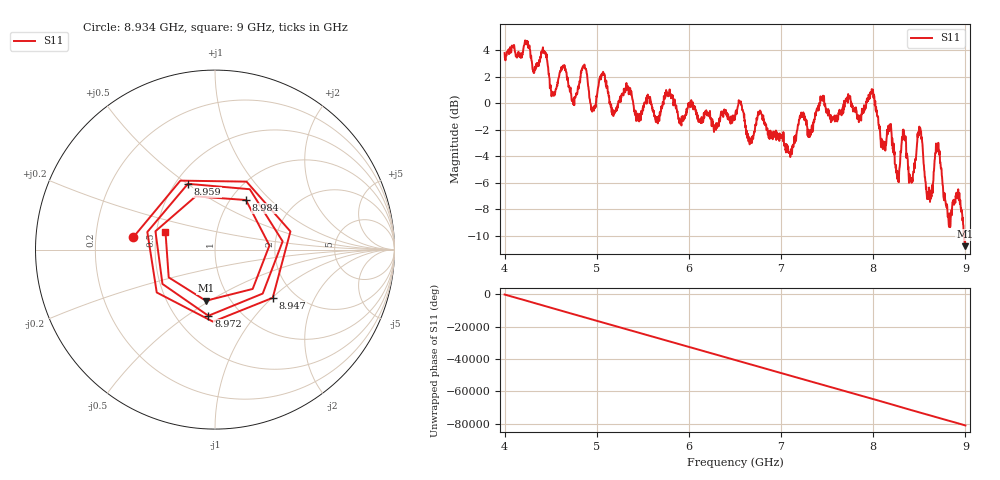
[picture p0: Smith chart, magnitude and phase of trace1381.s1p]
! Created with skrf 1.8.0 (http://scikit-rf.org).
# Hz S RI R 50.0
!freq ReS11 ImS11
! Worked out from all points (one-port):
!   1601 points, 4 GHz to 9 GHz, reference 50 ohm
!   lowest |S11| = -10.8 dB at 8.994 GHz (marker M1), VSWR 1.82, Z = 38.6 - j24 ohm
!   |S11| at or under -10 dB: 8.980938 GHz to 8.981189 GHz (250.9 kHz wide, 0.00279 % of centre); 8.985723 GHz to end of sweep
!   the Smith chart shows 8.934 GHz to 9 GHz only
!   S11 on the Smith chart (normalised r, x): 8.934 GHz: 0.37, +0.07; 8.947 GHz: 1.55, -1.01; 8.959 GHz: 0.58, +0.50; 8.972 GHz: 0.71, -0.61; 8.984 GHz: 1.17, +0.73; 9 GHz: 0.56, +0.12
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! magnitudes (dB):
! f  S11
! 4 GHz  3.8
! 4.422 GHz  4.0
! 4.528 GHz  0.7
! 4.625 GHz  2.7
! 4.747 GHz  -0.1
! 4.859 GHz  2.7
! 4.953 GHz  -0.4
! 5.062 GHz  2.3
! 5.25 GHz  0.4
! 5.875 GHz  -0.6
! 6.5 GHz  -0.9
! 7.125 GHz  -3.3
! 7.75 GHz  0.5
! 7.988 GHz  0.9
! 8.259 GHz  -5.7
! 8.331 GHz  -2.1
! 8.375 GHz  -4.3
! 8.506 GHz  -1.9
! 8.603 GHz  -7.1
! 8.697 GHz  -3.3
! 8.812 GHz  -8.4
! 8.934 GHz  -6.7
! 8.947 GHz  -7.6
! 8.959 GHz  -8.0
! 8.972 GHz  -8.6
! 8.984 GHz  -9.7
! 8.994 GHz  -10.8
! 9 GHz  -10.7
